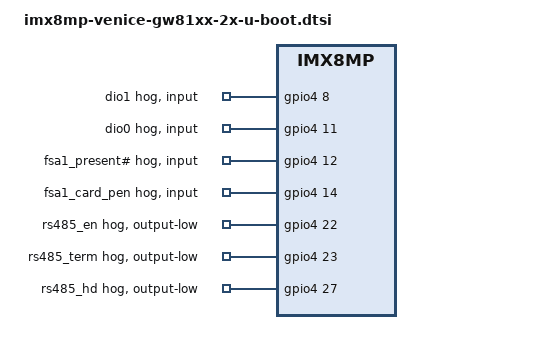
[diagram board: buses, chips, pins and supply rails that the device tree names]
// SPDX-License-Identifier: GPL-2.0+
/*
 * Copyright 2024 Gateworks Corporation
 */
#include "imx8mp-venice-gw702x-u-boot.dtsi"

&gpio4 {
	dio_1 {
		gpio-hog;
		input;
		gpios = <8 GPIO_ACTIVE_HIGH>;
		line-name = "dio1";
	};

	dio_0 {
		gpio-hog;
		input;
		gpios = <11 GPIO_ACTIVE_HIGH>;
		line-name = "dio0";
	};

	fsa1_card_present {
		gpio-hog;
		input;
		gpios = <12 GPIO_ACTIVE_HIGH>;
		line-name = "fsa1_present#";
	};

	fsa1_card_pen {
		gpio-hog;
		input;
		gpios = <14 GPIO_ACTIVE_HIGH>;
		line-name = "fsa1_card_pen";
	};

	rs485_en {
		gpio-hog;
		output-low;
		gpios = <22 GPIO_ACTIVE_HIGH>;
		line-name = "rs485_en";
	};

	rs485_term {
		gpio-hog;
		output-low;
		gpios = <23 GPIO_ACTIVE_HIGH>;
		line-name = "rs485_term";
	};

	rs485_half {
		gpio-hog;
		output-low;
		gpios = <27 GPIO_ACTIVE_HIGH>;
		line-name = "rs485_hd";
	};
};
